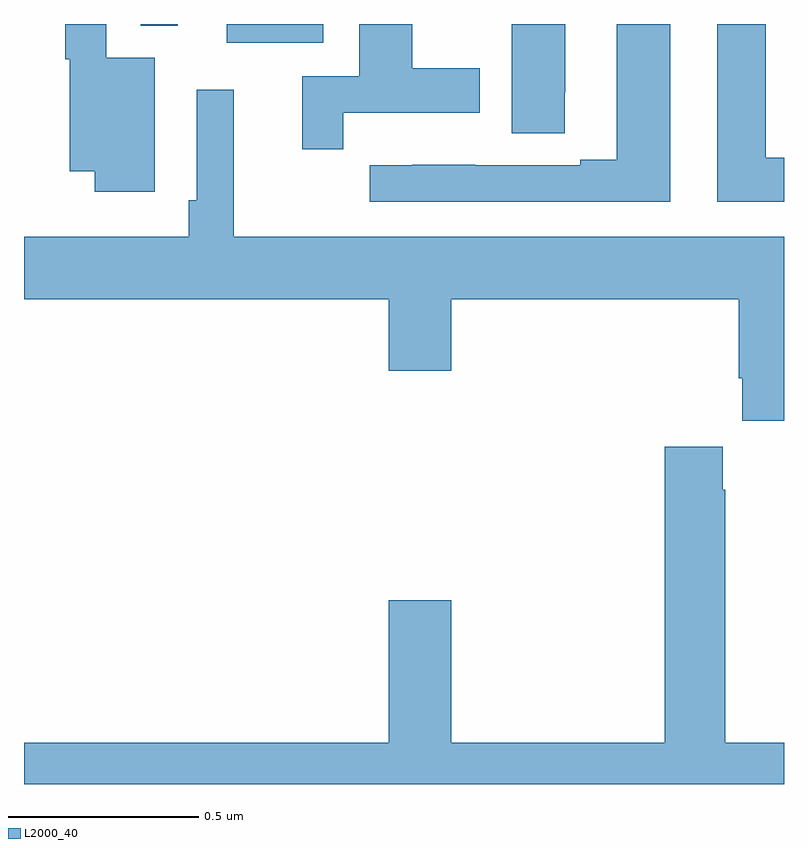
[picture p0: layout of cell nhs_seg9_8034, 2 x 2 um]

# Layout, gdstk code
import gdstk
lib = gdstk.Library(unit=1e-6, precision=1e-09)
def R(c, l, rs):  # rectangles x0, y0, x1, y1
    for r in rs: c.add(gdstk.rectangle(r[:2], r[2:], *l))
def P(c, l, *ps):  # polygons
    for p in ps: c.add(gdstk.Polygon(p, *l))
L2000_40 = (2000, 40)

nhs_seg9_8034 = lib.new_cell('nhs_seg9_8034')
R(nhs_seg9_8034, L2000_40, [(212.534,1174.451,212.788,1174.5), (212.307,1174.496,212.404,1174.5)])
P(nhs_seg9_8034, L2000_40, [(213.7,1174.5),(213.56,1174.5),(213.56,1174.143),(213.464,1174.143),(213.464,1174.128),(213.188,1174.128),(213.188,1174.129),(213.022,1174.129),(213.022,1174.128),(212.91,1174.128),(212.91,1174.032),(213.7,1174.032)],
  [(212.344,1174.411),(212.217,1174.411),(212.217,1174.5),(212.109,1174.5),(212.109,1174.407),(212.12,1174.407),(212.12,1174.112),(212.186,1174.112),(212.186,1174.059),(212.344,1174.059)],
  [(212.84,1174.266),(213.199,1174.266),(213.199,1174.383),(213.022,1174.383),(213.022,1174.5),(212.882,1174.5),(212.882,1174.362),(212.732,1174.362),(212.732,1174.17),(212.84,1174.17)],
  [(213.423,1174.321),(213.424,1174.321),(213.424,1174.5),(213.284,1174.5),(213.284,1174.213),(213.423,1174.213)],
  [(214,1174.148),(213.952,1174.148),(213.952,1174.5),(213.824,1174.5),(213.824,1174.032),(214,1174.032)],
  [(214,1173.94),(212.552,1173.94),(212.552,1174.327),(212.454,1174.327),(212.454,1174.036),(212.434,1174.036),(212.434,1173.94),(212,1173.94),(212,1173.776),(212.96,1173.776),(212.96,1173.588),(213.124,1173.588),(213.124,1173.776),(213.881,1173.776),(213.881,1173.568),(213.89,1173.568),(213.89,1173.456),(214,1173.456)],
  [(214,1172.608),(213.846,1172.608),(213.846,1173.275),(213.839,1173.275),(213.839,1173.388),(213.686,1173.388),(213.686,1172.608),(213.124,1172.608),(213.124,1172.983),(212.96,1172.983),(212.96,1172.608),(212,1172.608),(212,1172.5),(214,1172.5)])

lib.write_gds('nhs_seg9_8034.gds')
